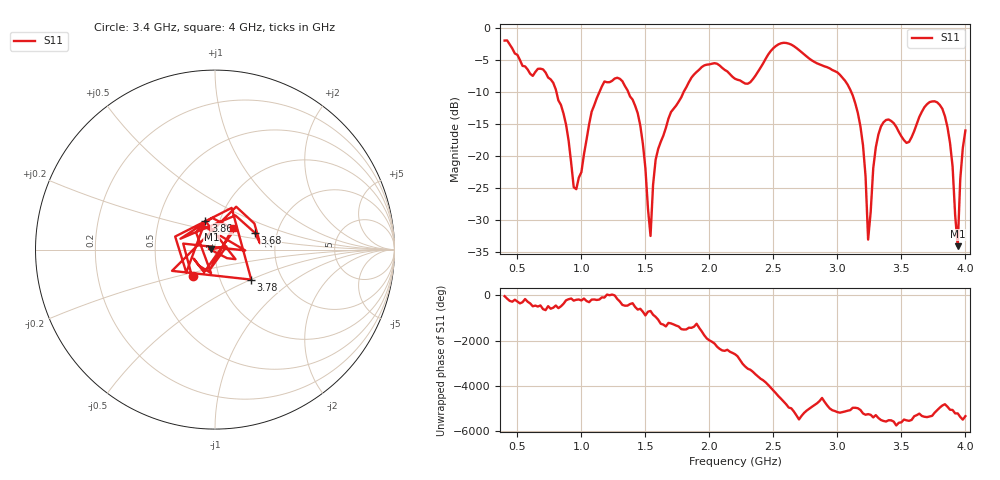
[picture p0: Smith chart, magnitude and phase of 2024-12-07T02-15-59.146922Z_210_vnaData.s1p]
!Created with skrf (http://scikit-rf.org).
# Hz S RI R 50.0
!freq ReS11 ImS11
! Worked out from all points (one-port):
!   181 points, 400 MHz to 4 GHz, reference 50 ohm
!   lowest |S11| = -34.1 dB at 3.94 GHz (marker M1), VSWR 1.04, Z = 48.1 + j0.215 ohm
!   |S11| at or under -10 dB: 804.5 MHz to 1.141 GHz (336.7 MHz wide, 34.6 % of centre); 1.365 GHz to 1.799 GHz (433.6 MHz wide, 27.4 % of centre); 3.108 GHz to end of sweep
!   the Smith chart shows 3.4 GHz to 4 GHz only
!   S11 on the Smith chart (normalised r, x): 3.4 GHz: 0.75, -0.23; 3.68 GHz: 1.53, +0.31; 3.78 GHz: 1.40, -0.50; 3.86 GHz: 0.86, +0.28; 4 GHz: 1.18, +0.30
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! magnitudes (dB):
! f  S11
! 400 MHz  -2.0
! 620 MHz  -7.5
! 720 MHz  -7.0
! 860 MHz  -13.4
! 960 MHz  -25.2
! 1.12 GHz  -11.0
! 1.3 GHz  -7.9
! 1.46 GHz  -15.2
! 1.54 GHz  -32.5
! 1.58 GHz  -20.6
! 1.76 GHz  -11.5
! 1.96 GHz  -5.9
! 2.2 GHz  -7.9
! 2.66 GHz  -2.9
! 3.1 GHz  -9.6
! 3.2 GHz  -18.3
! 3.22 GHz  -23.2
! 3.24 GHz  -33.1
! 3.3 GHz  -18.7
! 3.4 GHz  -14.3
! 3.56 GHz  -17.8
! 3.68 GHz  -12.4
! 3.78 GHz  -11.6
! 3.86 GHz  -15.5
! 3.9 GHz  -21.6
! 3.94 GHz  -34.1
! 3.96 GHz  -23.6
! 4 GHz  -16.0
